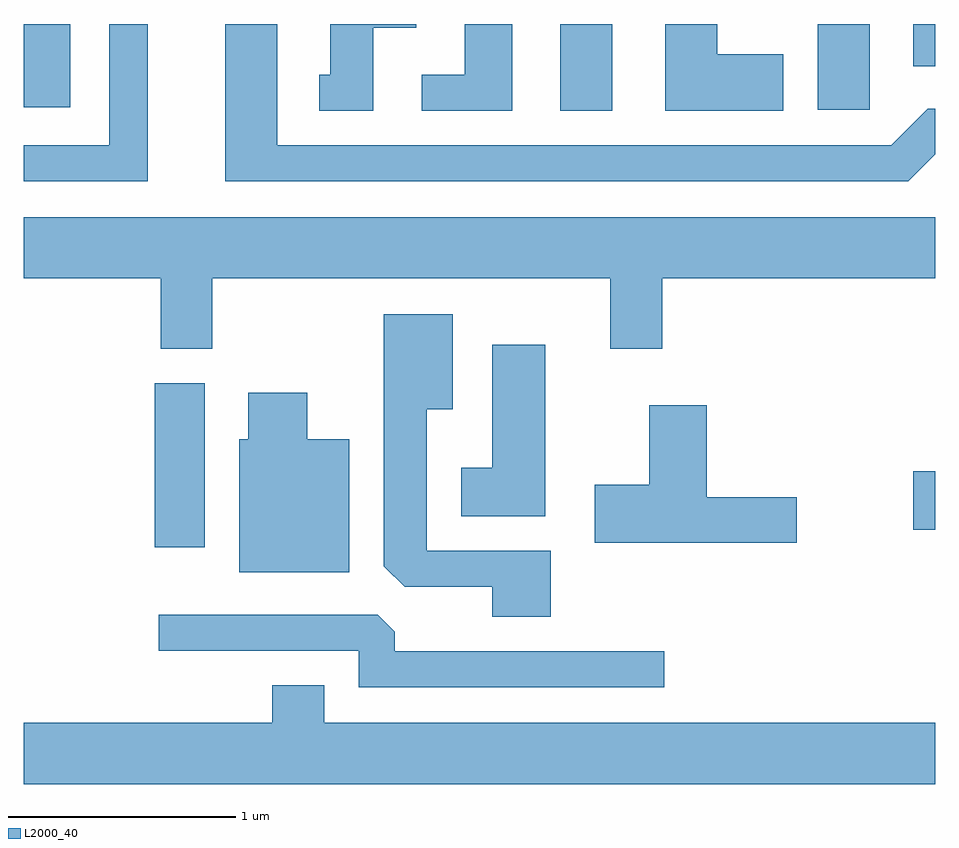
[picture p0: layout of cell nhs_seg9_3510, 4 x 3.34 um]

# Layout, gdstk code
import gdstk
lib = gdstk.Library(unit=1e-6, precision=1e-09)
def R(c, l, rs):  # rectangles x0, y0, x1, y1
    for r in rs: c.add(gdstk.rectangle(r[:2], r[2:], *l))
def P(c, l, *ps):  # polygons
    for p in ps: c.add(gdstk.Polygon(p, *l))
L2000_40 = (2000, 40)

nhs_seg9_3510 = lib.new_cell('nhs_seg9_3510')
R(nhs_seg9_3510, L2000_40, [(288.186,2046.136,288.404,2046.854), (291.516,2046.211,291.611,2046.469), (289.966,2048.051,290.194,2048.432), (291.096,2048.056,291.324,2048.432), (287.611,2048.066,287.814,2048.432), (291.516,2048.246,291.611,2048.432)])
P(nhs_seg9_3510, L2000_40, [(288.154,2048.432),(287.986,2048.432),(287.986,2047.899),(287.611,2047.899),(287.611,2047.741),(288.154,2047.741)],
  [(291.611,2047.86),(291.611,2048.059),(291.579,2048.059),(291.419,2047.899),(288.724,2047.899),(288.724,2048.432),(288.496,2048.432),(288.496,2047.741),(291.492,2047.741)],
  [(290.944,2048.299),(290.654,2048.299),(290.654,2048.432),(290.426,2048.432),(290.426,2048.051),(290.944,2048.051)],
  [(289.144,2048.416),(289.334,2048.416),(289.334,2048.432),(288.956,2048.432),(288.956,2048.209),(288.908,2048.209),(288.908,2048.051),(289.144,2048.051)],
  [(289.754,2048.432),(289.546,2048.432),(289.546,2048.209),(289.358,2048.209),(289.358,2048.051),(289.754,2048.051)],
  [(288.439,2047.316),(290.186,2047.316),(290.186,2047.006),(290.414,2047.006),(290.414,2047.316),(291.611,2047.316),(291.611,2047.584),(287.611,2047.584),(287.611,2047.316),(288.211,2047.316),(288.211,2047.006),(288.439,2047.006)],
  [(289.924,2046.119),(289.379,2046.119),(289.379,2046.741),(289.494,2046.741),(289.494,2047.159),(289.191,2047.159),(289.191,2046.052),(289.282,2045.961),(289.666,2045.961),(289.666,2045.831),(289.924,2045.831)],
  [(289.899,2047.024),(289.666,2047.024),(289.666,2046.484),(289.531,2046.484),(289.531,2046.271),(289.899,2046.271)],
  [(289.039,2046.609),(288.854,2046.609),(288.854,2046.814),(288.596,2046.814),(288.596,2046.609),(288.556,2046.609),(288.556,2046.026),(289.039,2046.026)],
  [(291.004,2046.354),(290.609,2046.354),(290.609,2046.759),(290.356,2046.759),(290.356,2046.409),(290.116,2046.409),(290.116,2046.156),(291.004,2046.156)],
  [(290.423,2045.679),(289.239,2045.679),(289.239,2045.764),(289.164,2045.839),(288.203,2045.839),(288.203,2045.681),(289.081,2045.681),(289.081,2045.521),(290.423,2045.521)],
  [(291.611,2045.364),(288.929,2045.364),(288.929,2045.529),(288.701,2045.529),(288.701,2045.364),(287.611,2045.364),(287.611,2045.096),(291.611,2045.096)])

lib.write_gds('nhs_seg9_3510.gds')
